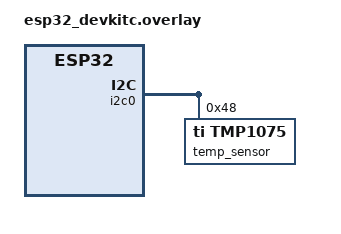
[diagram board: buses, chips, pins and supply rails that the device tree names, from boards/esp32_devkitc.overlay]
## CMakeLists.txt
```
# SPDX-License-Identifier: Apache-2.0

cmake_minimum_required(VERSION 3.20.0)

find_package(Zephyr REQUIRED HINTS $ENV{ZEPHYR_BASE})
project(zephyr_mqtt_demo)
FILE(GLOB app_sources src/*.c)
target_sources(app PRIVATE
  ${app_sources}
  )
generate_inc_file_for_target(app src/hivemq_ca.pem ${ZEPHYR_BINARY_DIR}/include/generated/hivemq_ca.pem.inc)
```

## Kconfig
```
menu "Demo functionalities"

config DEMO_BUILD_TYPE
    int "Build type"
    default 1
    range 1 2
    help
        Select build type (1 = non-secure, 2 = secure)

config MOSQUITTO_USERNAME
	string "Mosquitto cloud username"
	help
	  Username of your Mosquitto account.

config MOSQUITTO_PASSWORD
	string "Mosquitto cloud password"
	help
	  Password of your Mosquitto account.

config MOSQUITTO_CLIENT_ID
	string "Mosquitto cloud IoT hub MQTT client ID"
	help
	  Device ID which you have setup in IoT hub account.

config MOSQUITTO_HOSTNAME
	string "Mosquitto cloud IoT hub hostname"
	help
	  Hostname of your Mosquitto cloud IoT hub.

config MOSQUITTO_SERVER_IP
	string "Mosquitto cloud IoT hub ip address"
	help
	  Hostname of your Mosquitto cloud IoT hub.

config MOSQUITTO_SERVER_PORT
	int "Mosquitto cloud server port number"
	default 8883
	help
	  Mosquitto cloud server port number.

config MOSQUITTO_QOS
    int "MQTT QoS"
    default 0
    range 0 1
    help
      Quality of Service to use for publishing and subscribing to topics.
      Notes:
        - Use QoS 0 when passing DQP test suite
        - QoS 2 is not supported by AWS MQTT broker
endmenu

source "Kconfig.zephyr"
```

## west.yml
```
manifest:
  projects:
    - name: zephyrproject-rtos
      url: https://github.com/zephyrproject-rtos/zephyr
      revision: main
      path: zephyr/
      import: true
```

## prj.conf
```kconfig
# --- Core Options ---
CONFIG_MAIN_STACK_SIZE=3072
CONFIG_HWINFO=y
CONFIG_CBPRINTF_FP_SUPPORT=y
CONFIG_HEAP_MEM_POOL_SIZE=81984
CONFIG_SYSTEM_WORKQUEUE_STACK_SIZE=2048


# --- Flash & File System ---
CONFIG_NET_BUF=y
CONFIG_STREAM_FLASH=y
CONFIG_FLASH=y
CONFIG_FLASH_MAP=y
CONFIG_FLASH_PAGE_LAYOUT=y
CONFIG_FILE_SYSTEM=y
CONFIG_FILE_SYSTEM_LITTLEFS=y
CONFIG_FILE_SYSTEM_SHELL=n

# --- Diagnostics & Shell ---
CONFIG_LOG=y
CONFIG_SHELL=n

# --- Networking Stack Core ---
CONFIG_NETWORKING=y
CONFIG_TEST_RANDOM_GENERATOR=y
CONFIG_ENTROPY_GENERATOR=y
CONFIG_INIT_STACKS=y
CONFIG_NET_MGMT_EVENT_STACK_SIZE=2048
CONFIG_NET_TCP_WORKQ_STACK_SIZE=2048
CONFIG_NET_SOCKETS_SERVICE_STACK_SIZE=2048
CONFIG_NET_IPV4=y
CONFIG_NET_IPV6=n
CONFIG_NET_TCP=y
CONFIG_NET_UDP=y
CONFIG_NET_SOCKETS=y
CONFIG_NET_CONNECTION_MANAGER=y

# --- Network Buffers (Optimized for ESP32 DRAM) ---
CONFIG_NET_PKT_RX_COUNT=8
CONFIG_NET_PKT_TX_COUNT=8
CONFIG_NET_BUF_RX_COUNT=16
CONFIG_NET_BUF_TX_COUNT=16
CONFIG_NET_CONTEXT_NET_PKT_POOL=y
CONFIG_NET_DHCPV4=y
CONFIG_NET_SHELL=n

# --- Wi-Fi Subsystem ---
CONFIG_WIFI=y
CONFIG_WIFI_NM=y
CONFIG_WIFI_STA_AUTO_DHCPV4=y

# --- DNS Resolution ---
CONFIG_DNS_RESOLVER=y
CONFIG_DNS_RESOLVER_MAX_SERVERS=2
CONFIG_DNS_NUM_CONCUR_QUERIES=2
CONFIG_DNS_SERVER_IP_ADDRESSES=y
CONFIG_DNS_SERVER1="8.8.8.8"

# --- HiveMQ Target Settings ---
CONFIG_MQTT_LIB=y
CONFIG_MQTT_CLEAN_SESSION=y
CONFIG_MOSQUITTO_CLIENT_ID="zephyr-123234"
CONFIG_MOSQUITTO_HOSTNAME="dc69f81904184c9eb8612ea26d2fa1bf.s1.eu.hivemq.cloud"
CONFIG_MOSQUITTO_SERVER_PORT=8883
CONFIG_MOSQUITTO_USERNAME="zephyr_client"
CONFIG_MOSQUITTO_PASSWORD="Tvadivel1."

# --- Secure TLS Layer Configuration ---
CONFIG_TLS_CREDENTIALS=y
CONFIG_NET_SOCKETS_SOCKOPT_TLS=y
CONFIG_MQTT_LIB_TLS=y

# --- Mbed TLS Subsystem Options ---
CONFIG_MBEDTLS=y
CONFIG_MBEDTLS_BUILTIN=y
CONFIG_MBEDTLS_ENABLE_HEAP=y
CONFIG_MBEDTLS_HEAP_SIZE=49152
CONFIG_MBEDTLS_SSL_IN_CONTENT_LEN=16384
CONFIG_MBEDTLS_SSL_OUT_CONTENT_LEN=16384
CONFIG_MBEDTLS_X509_CRT_PARSE_C=y
CONFIG_MBEDTLS_HAVE_TIME_DATE=y
CONFIG_MBEDTLS_PEM_PARSE_C=y
CONFIG_MBEDTLS_PEM_WRITE_C=y
CONFIG_MBEDTLS_SSL_SERVER_NAME_INDICATION=y
CONFIG_MBEDTLS_CIPHERSUITE_TLS_ECDHE_RSA_WITH_AES_128_GCM_SHA256=y

# --- Watchdog ---
CONFIG_WATCHDOG=y
CONFIG_TASK_WDT=y
CONFIG_TASK_WDT_MIN_TIMEOUT=500

# --- App Settings & Targets ---
CONFIG_POSIX_API=y
CONFIG_SENSOR=y
CONFIG_STDOUT_CONSOLE=y
CONFIG_ESP32_USE_UNSUPPORTED_REVISION=y
```

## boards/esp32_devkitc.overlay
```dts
/*
 * Copyright (c) 2020 Phytec Messtechnik GmbH
 *
 * SPDX-License-Identifier: Apache-2.0
 */

#include <zephyr/dt-bindings/pinctrl/esp-pinctrl-common.h>
#include <dt-bindings/pinctrl/esp32c3-pinctrl.h>
#include <zephyr/dt-bindings/pinctrl/esp32c3-gpio-sigmap.h>

/ {
    aliases {
        ambient-temp0 = &temp_sensor;
        /* Fixes main.c missing watchdog alias requirement */
        watchdog0 = &wdt0;
    };
};

&i2c0 {
    temp_sensor: tmp1075@48 {
        compatible = "ti,tmp1075";
        friendly-name = "texas_temperature_tmp1075";
        reg = <0x48>;
        conversion-rate = <220000>;
        lower-threshold = <27>;
        upper-threshold = <28>;
        consecutive-fault-measurements = <4>;
    };
};

/* Defines the partition configuration required by LittleFS for storage */
&flash0 {
    partitions {
        compatible = "fixed-partitions";
        #address-cells = <1>;
        #size-cells = <1>;

        /* Reserve space for LittleFS storage inside the internal flash area */
        storage_partition: partition@250000 {
            label = "storage";
            reg = <0x00250000 0x000B0000>; /* Adjust start address/size to fit layout if required */
        };
    };
};
```

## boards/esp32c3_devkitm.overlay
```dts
/*
 * Copyright (c) 2020 Phytec Messtechnik GmbH
 *
 * SPDX-License-Identifier: Apache-2.0
 */

#include <zephyr/dt-bindings/pinctrl/esp-pinctrl-common.h>
#include <dt-bindings/pinctrl/esp32c3-pinctrl.h>
#include <zephyr/dt-bindings/pinctrl/esp32c3-gpio-sigmap.h>

/ {
    aliases {
        ambient-temp0 = &temp_sensor;
    };
};

&i2c0 {
    temp_sensor: tmp1075@48 {
		compatible = "ti,tmp1075";
		friendly-name = "texas_temperature_tmp1075";
		reg = <0x48>;
		conversion-rate = <220000>;
		lower-threshold = <27>;
		upper-threshold = <28>;
		consecutive-fault-measurements = <4>;
	};
};
```

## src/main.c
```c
#include <zephyr/kernel.h>
#include <zephyr/stats/stats.h>
#include <zephyr/device.h>
#include <zephyr/drivers/watchdog.h>
#include <zephyr/sys/reboot.h>
#include <zephyr/sys/printk.h>
#include <zephyr/logging/log.h>
#include <zephyr/fs/fs.h>
#include <zephyr/fs/littlefs.h>
#include <zephyr/drivers/hwinfo.h>
#include <stdbool.h>

#include "common.h"

#define LOG_LEVEL LOG_LEVEL_DBG
LOG_MODULE_REGISTER(main);

#ifdef CONFIG_TASK_WDT
#include <zephyr/task_wdt/task_wdt.h>
#define WDT_NODE DT_ALIAS(watchdog0)
#endif

#define STORAGE_PARTITION_LABEL storage_partition
#define STORAGE_PARTITION_ID    PARTITION_ID(STORAGE_PARTITION_LABEL)
FS_LITTLEFS_DECLARE_DEFAULT_CONFIG(cstorage);
static struct fs_mount_t littlefs_mnt = {
    .type = FS_LITTLEFS,
    .fs_data = &cstorage,
    .storage_dev = (void *)STORAGE_PARTITION_ID,
    .mnt_point = "/lfs1"
};
#include <zephyr/net/tls_credentials.h>

#define TLS_SEC_TAG_LIST_APP 1
static const unsigned char ca_certificate[] = {
#include "hivemq_ca.pem.inc"
 0x00
};
static int setup_tls_credentials(void)
{
    /* Use strlen() + 1 to guarantee exact string size + null terminator */
    int ret = tls_credential_add(TLS_SEC_TAG_LIST_APP,
                                  TLS_CREDENTIAL_CA_CERTIFICATE,
                                  ca_certificate,
                                  strlen(ca_certificate) + 1);
    if (ret < 0) {
        LOG_ERR("Failed to register CA certificate: %d", ret);
    }
    return ret;
}
void print_deviceid()
{
    // uint8_t id[16];   /* buffer for the ID */
    // ssize_t len;

    // /* Passing NULL defaults to the "system device" (SoC) */
    // len = hwinfo_get_device_id(id, sizeof(id));

    // if (len > 0)
    // {
    //     printk("Device ID (len=%d): ", (int)len);
    //     for (int i = 0; i < len; i++)
    //     {
    //         printk("%02x", id[i]);
    //     }
    //     printk("\n");
    // }
    // else
    // {
    //     printk("Device ID not available on this platform\n");
    // }
}

int main(void)
{
    int ret;
#ifdef CONFIG_TASK_WDT
    const struct device *const hw_wdt_dev = DEVICE_DT_GET_OR_NULL(WDT_NODE);

    if (!device_is_ready(hw_wdt_dev))
    {
        LOG_ERR("Hardware watchdog not ready; ignoring it.\n");
        ret = task_wdt_init(NULL);
    }
    else
    {
        ret = task_wdt_init(hw_wdt_dev);
    }
    int task_wdt_id = task_wdt_add(10000U, NULL, NULL);
#endif

    // print_deviceid();
    ret = fs_mount(&littlefs_mnt);
    if (ret < 0) {
        LOG_ERR("Error mounting littlefs [%d]", ret);
    }
    init_wifi();
    setup_tls_credentials();
    start_mqtt_client();
	LOG_INF("build time: " __DATE__ " " __TIME__);

	while (1)
    {
#ifdef CONFIG_TASK_WDT
        task_wdt_feed(task_wdt_id);
#endif
		k_sleep(K_MSEC(1500));
	}
	return 0;
}
```

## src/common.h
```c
/*
 * Copyright (c) 2020 Prevas A/S
 *
 * SPDX-License-Identifier: Apache-2.0
 */

#define WIFI_FILE_PATH "/lfs1/wifi_cred.txt"
#define AES_BLOCK_SIZE  16

typedef struct wifi_credentials
{
    uint8_t ssid[32];
    uint8_t password[64];
}wifi_credentials_t;

void init_wifi(void);
bool check_wifi_status();
int start_mqtt_client();
int update_wifi_cred();
void wifi_disconnect(void);
```

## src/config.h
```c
/*
 * Copyright (c) 2019 Intel Corporation
 *
 * SPDX-License-Identifier: Apache-2.0
 */

#ifndef __CONFIG_H__
#define __CONFIG_H__

#define APP_SLEEP_MSECS 8000
#define APP_MQTT_BUFFER_SIZE 1024
#endif /* __CONFIG_H__ */
```

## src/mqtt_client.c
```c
#include <errno.h>
#include <string.h>
#include <stdio.h>
#include <zephyr/logging/log.h>
#include <zephyr/kernel.h>
#include <zephyr/net/mqtt.h>
#include <zephyr/net/socket.h>
#include <zephyr/sys/printk.h>
#include <zephyr/random/random.h>
#include <zephyr/net/net_if.h>

#if defined(CONFIG_MQTT_LIB_TLS)
#include <zephyr/net/tls_credentials.h>
#endif

#include "common.h"
#include "config.h"

LOG_MODULE_REGISTER(mqtt_client, LOG_LEVEL_DBG);

#if defined(CONFIG_MQTT_LIB_TLS)
/* CA Certificate Tag */
#define TLS_SEC_TAG_LIST_APP 1

static sec_tag_t sec_tag_list[] = {
    TLS_SEC_TAG_LIST_APP,
};
#endif

typedef struct __mqtt_client_ctx
{
    bool mqtt_connected;
} mqtt_client_ctx;

static mqtt_client_ctx mqtt_ctx;
/* The mqtt client struct */
static struct mqtt_client client_ctx;

#ifdef CONFIG_DNS_RESOLVER
static struct zsock_addrinfo hints;
static struct zsock_addrinfo *haddr;
#endif

/* MQTT Broker details. */
static struct sockaddr_storage broker;

/* Socket Poll */
static struct zsock_pollfd fds[1];
static int nfds;

/* Buffers for MQTT client. */
static uint8_t rx_buffer[1024];
static uint8_t tx_buffer[1024];

#define TOPIC_PRE_STR "zephyr_demo/devices/"

static void clear_fds(void);
static uint8_t devbound_topic[] = TOPIC_PRE_STR CONFIG_MOSQUITTO_CLIENT_ID "/temperature/config/#";
//the subscription topic in the hivemqtt webpage is "zephyr_demo/devices/zephyr-123234/temperature/config/temp"
// use this topic to send message to the esp32 module from the hivemqtt webpage
static struct mqtt_topic subs_topic;
static struct mqtt_subscription_list subs_list;
static struct k_work_delayable pub_message;

#define MQTT_CLIENT_STACK 7168
#define MQTT_CLIENT_PRIORITY 5
#define MQTT_CLIENT_FREQ_MS 15000

K_THREAD_STACK_DEFINE(mqtt_client_stack, MQTT_CLIENT_STACK);
static struct k_thread mqtt_client_thread_data;
static k_tid_t mqtt_client_tid;

/* Credentials structs (static so references stay valid during connection) */
static struct mqtt_utf8 username;
static struct mqtt_utf8 password;

int get_random_temp_data(void)
{
    int minTemp = 20;
    int maxTemp = 25;
    int temperature = minTemp + (sys_rand32_get() % (maxTemp - minTemp + 1));
    return temperature;
}

static int publish(struct mqtt_client *client, enum mqtt_qos qos)
{
    double temp = 25.5;
    char payload[15] = {0};
    snprintf(payload, sizeof(payload), "%f", temp);
    char evt_topic[] = TOPIC_PRE_STR CONFIG_MOSQUITTO_CLIENT_ID "/temperature/data/";
    uint8_t len = strlen(evt_topic);
    struct mqtt_publish_param param;

    param.message.topic.qos = qos;
    param.message.topic.topic.utf8 = (uint8_t *)evt_topic;
    param.message.topic.topic.size = len;
    param.message.payload.data = payload;
    param.message.payload.len = strlen(payload);
    param.message_id = sys_rand16_get();
    param.dup_flag = 0U;
    param.retain_flag = 0U;
    LOG_INF("Publishing Data on %s\n", evt_topic);

    return mqtt_publish(client, &param);
}

static uint8_t timeout_for_publish(void)
{
    return (10 + sys_rand8_get() % 5);
}

static void publish_timeout(struct k_work *work)
{
    int rc;

    if (!mqtt_ctx.mqtt_connected) {
        return;
    }

    rc = publish(&client_ctx, MQTT_QOS_0_AT_MOST_ONCE);
    if (rc) {
        LOG_ERR("mqtt_publish ERROR");
    } else {
        LOG_DBG("mqtt_publish OK");
    }
    k_work_reschedule(&pub_message, K_SECONDS(timeout_for_publish()));
}

static void mqtt_event_handler(struct mqtt_client *const client, const struct mqtt_evt *evt)
{
    struct mqtt_puback_param puback;
    uint8_t data[129];
    int len;

    switch (evt->type)
    {
        case MQTT_EVT_SUBACK:
            LOG_INF("SUBACK packet id: %u", evt->param.suback.message_id);
            break;

        case MQTT_EVT_UNSUBACK:
            LOG_INF("UNSUBACK packet id: %u", evt->param.suback.message_id);
            break;

        case MQTT_EVT_CONNACK:
            if (evt->result)
            {
                LOG_ERR("MQTT connect failed %d", evt->result);
                break;
            }

            mqtt_ctx.mqtt_connected = true;
            LOG_DBG("MQTT client connected!");
            break;

        case MQTT_EVT_DISCONNECT:
            LOG_DBG("MQTT client disconnected %d", evt->result);

            mqtt_ctx.mqtt_connected = false;
            clear_fds();
            break;

        case MQTT_EVT_PUBACK:
            if (evt->result)
            {
                LOG_ERR("MQTT PUBACK error %d", evt->result);
                break;
            }

            LOG_DBG("PUBACK packet id: %u\n", evt->param.puback.message_id);
            break;

        case MQTT_EVT_PUBLISH:
            len = evt->param.publish.message.payload.len;

            LOG_INF("MQTT publish received %d, %d bytes", evt->result, len);
            LOG_INF(" id: %d, qos: %d", evt->param.publish.message_id, evt->param.publish.message.topic.qos);

            while (len)
            {
                int bytes_read =
                    mqtt_read_publish_payload(&client_ctx, data, len >= sizeof(data) - 1 ? sizeof(data) - 1 : len);
                if (bytes_read < 0 && bytes_read != -EAGAIN)
                {
                    LOG_ERR("Fail to read payload");
                    break;
                }

                data[bytes_read] = '\0';
                LOG_INF("Payload: %s", data);
                len -= bytes_read;
            }

            puback.message_id = evt->param.publish.message_id;
            mqtt_publish_qos1_ack(&client_ctx, &puback);
            break;

        default:
            LOG_DBG("Unhandled MQTT event %d", evt->type);
            break;
    }
}

static void prepare_fds(struct mqtt_client *client)
{
#if defined(CONFIG_MQTT_LIB_TLS)
    if (client->transport.type == MQTT_TRANSPORT_SECURE) {
        fds[0].fd = client->transport.tls.sock;
    } else {
        fds[0].fd = client->transport.tcp.sock;
    }
#else
    fds[0].fd = client->transport.tcp.sock;
#endif

    fds[0].events = ZSOCK_POLLIN;
    nfds = 1;
}

static void clear_fds(void)
{
    nfds = 0;
}

static int wait(int timeout)
{
    int rc = -EINVAL;

    if (nfds <= 0)
    {
        return rc;
    }

    rc = zsock_poll(fds, nfds, timeout);
    if (rc < 0)
    {
        LOG_ERR("poll error: %d", errno);
        return -errno;
    }

    return rc;
}

static void broker_init(void)
{
    struct sockaddr_in *broker4 = (struct sockaddr_in *)&broker;

    broker4->sin_family = AF_INET;
    broker4->sin_port = htons(CONFIG_MOSQUITTO_SERVER_PORT);

#if defined(CONFIG_DNS_RESOLVER)
    net_ipaddr_copy(&broker4->sin_addr, &net_sin(haddr->ai_addr)->sin_addr);
#else
    zsock_inet_pton(AF_INET, CONFIG_MOSQUITTO_SERVER_IP, &broker4->sin_addr);
#endif
}

static void client_init(struct mqtt_client *client)
{
    mqtt_client_init(client);

    broker_init();

    /* MQTT client configuration */
    client->broker = &broker;
    client->evt_cb = mqtt_event_handler;

    client->client_id.utf8 = (uint8_t *)CONFIG_MOSQUITTO_CLIENT_ID;
    client->client_id.size = strlen(CONFIG_MOSQUITTO_CLIENT_ID);

    /* Attach Username and Password required by HiveMQ */
    username.utf8 = (uint8_t *)CONFIG_MOSQUITTO_USERNAME;
    username.size = strlen(CONFIG_MOSQUITTO_USERNAME);
    client->user_name = &username;

    password.utf8 = (uint8_t *)CONFIG_MOSQUITTO_PASSWORD;
    password.size = strlen(CONFIG_MOSQUITTO_PASSWORD);
    client->password = &password;

    client->keepalive = 60;
    client->clean_session = 1;
    client->protocol_version = MQTT_VERSION_3_1_1;

    /* MQTT buffers configuration */
    client->rx_buf = rx_buffer;
    client->rx_buf_size = sizeof(rx_buffer);
    client->tx_buf = tx_buffer;
    client->tx_buf_size = sizeof(tx_buffer);

    /* Configure TLS / Non-TLS Transport */
#if defined(CONFIG_MQTT_LIB_TLS)
    client->transport.type = MQTT_TRANSPORT_SECURE;
    client->transport.tls.config.peer_verify = TLS_PEER_VERIFY_OPTIONAL;
    client->transport.tls.config.cipher_list = NULL;
    client->transport.tls.config.sec_tag_list = sec_tag_list;
    client->transport.tls.config.sec_tag_count = ARRAY_SIZE(sec_tag_list);
    client->transport.tls.config.hostname = CONFIG_MOSQUITTO_HOSTNAME;
#else
    client->transport.type = MQTT_TRANSPORT_NON_SECURE;
#endif
}

static void poll_mqtt(void)
{
    int rc;

    while (mqtt_ctx.mqtt_connected)
    {
        rc = wait(SYS_FOREVER_MS);
        if (rc > 0)
        {
            mqtt_input(&client_ctx);
        }
    }
}

static void subscribe(struct mqtt_client *client)
{
    int err;

    /* subscribe */
    subs_topic.topic.utf8 = devbound_topic;
    subs_topic.topic.size = strlen(devbound_topic);
    subs_list.list = &subs_topic;
    subs_list.list_count = 1U;
    subs_list.message_id = 1U;

    err = mqtt_subscribe(client, &subs_list);
    if (err) {
        LOG_ERR("Failed on topic %s", devbound_topic);
    } else {
        LOG_INF("Subscribed to %s\n", devbound_topic);
    }
}

static int try_to_connect(struct mqtt_client *client)
{
    uint8_t retries = 3U;
    int rc;

    LOG_DBG("attempting to connect...");

    while (retries--)
    {
        client_init(client);

        rc = mqtt_connect(client);
        if (rc)
        {
            LOG_ERR("mqtt_connect failed %d", rc);
            k_msleep(MQTT_CLIENT_FREQ_MS);
            continue;
        }

        prepare_fds(client);

        rc = wait(APP_SLEEP_MSECS);
        if (rc < 0)
        {
            mqtt_abort(client);
            return rc;
        }

        mqtt_input(client);

        if (mqtt_ctx.mqtt_connected)
        {
            subscribe(client);
            k_work_reschedule(&pub_message, K_SECONDS(timeout_for_publish()));
            return 0;
        }

        mqtt_abort(client);

        wait(10 * MSEC_PER_SEC);
    }

    return -EINVAL;
}

#ifdef CONFIG_DNS_RESOLVER
static int get_mqtt_broker_addrinfo(void)
{
    int retries = 3;
    int rc = -EINVAL;
    char port_str[6];

    snprintf(port_str, sizeof(port_str), "%d", CONFIG_MOSQUITTO_SERVER_PORT);

    while (retries--)
    {
        hints.ai_family = AF_INET;
        hints.ai_socktype = SOCK_STREAM;
        hints.ai_protocol = 0;

        rc = zsock_getaddrinfo(CONFIG_MOSQUITTO_HOSTNAME, port_str, &hints, &haddr);
        if (rc == 0)
        {
            LOG_INF("DNS resolved for %s:%d", CONFIG_MOSQUITTO_HOSTNAME, CONFIG_MOSQUITTO_SERVER_PORT);
            return 0;
        }

        LOG_ERR("DNS not resolved for %s:%d, retrying", CONFIG_MOSQUITTO_HOSTNAME, CONFIG_MOSQUITTO_SERVER_PORT);
    }

    return rc;
}
#endif

static void connect_to_cloud_and_publish(void)
{
    int rc = -EINVAL;

    do
    {
#ifdef CONFIG_DNS_RESOLVER
        rc = get_mqtt_broker_addrinfo();
        if (rc)
        {
            return;
        }
#endif
        rc = try_to_connect(&client_ctx);
        if (rc)
        {
            return;
        }
        poll_mqtt();
    } while (0);
}

void abort_mqtt_connection(void)
{
    if (mqtt_ctx.mqtt_connected)
    {
        mqtt_ctx.mqtt_connected = false;
        mqtt_abort(&client_ctx);
        k_work_cancel_delayable(&pub_message);
    }
}

static void mqtt_client(void *dummy1, void *dummy2, void *dummy3)
{
    ARG_UNUSED(dummy1);
    ARG_UNUSED(dummy2);
    ARG_UNUSED(dummy3);

    while (1)
    {
        do
        {
            if (false == check_wifi_status())
            {
                LOG_WRN("WiFi is not connected\n");
                break;
            }
            if (mqtt_ctx.mqtt_connected)
            {
                LOG_INF("MQTT Client is already connected");
                break;
            }
            connect_to_cloud_and_publish();
        } while (0);

        k_msleep(MQTT_CLIENT_FREQ_MS);
    }
}

int start_mqtt_client(void)
{
    mqtt_client_tid =
        k_thread_create(&mqtt_client_thread_data, mqtt_client_stack, K_THREAD_STACK_SIZEOF(mqtt_client_stack),
                mqtt_client, NULL, NULL, NULL, MQTT_CLIENT_PRIORITY, 0, K_NO_WAIT);
    k_thread_name_set(&mqtt_client_thread_data, "mqtt_client");
    k_thread_start(&mqtt_client_thread_data);
    k_work_init_delayable(&pub_message, publish_timeout);
    return 0;
}
```

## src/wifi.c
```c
#include <zephyr/logging/log.h>
#include <zephyr/kernel.h>
#include <zephyr/device.h>
#include <zephyr/net/net_core.h>
#include <zephyr/net/net_if.h>
#include <zephyr/net/wifi_mgmt.h>
#include <zephyr/net/net_mgmt.h>
#include <zephyr/net/wifi_mgmt.h>
#include <zephyr/net/wifi_utils.h>
#include <zephyr/sys/printk.h>
#include <zephyr/fs/fs.h>
//#include <mbedtls/aes.h>
#include <stdio.h>
#include <string.h>

#include "common.h"

LOG_MODULE_REGISTER(wifi_c, LOG_LEVEL_DBG);
#define WIFI_SSID "ZEPHYR"
#define WIFI_PASS "Tvadivel1."
static void wifi_reconnect_work_handler(struct k_work *work);
static struct k_work_delayable wifi_reconnect_work;
wifi_credentials_t wifi_cred;

#define WIFI_SHELL_MGMT_EVENTS (            \
                NET_EVENT_WIFI_CONNECT_RESULT     |\
                NET_EVENT_WIFI_DISCONNECT_RESULT  |\
                NET_EVENT_WIFI_TWT                |\
                NET_EVENT_WIFI_AP_ENABLE_RESULT   |\
                NET_EVENT_WIFI_AP_DISABLE_RESULT  |\
                NET_EVENT_WIFI_AP_STA_CONNECTED   |\
                NET_EVENT_WIFI_AP_STA_DISCONNECTED|\
                NET_EVENT_WIFI_SIGNAL_CHANGE      |\
                NET_EVENT_WIFI_NEIGHBOR_REP_COMP)

/* Simple connect attempt (synchronous loop until requested to stop) */

static int read_wifi_credentials(wifi_credentials_t *cred)
{
    struct fs_file_t wifi_cred_file;
    fs_file_t_init(&wifi_cred_file);
    int ret = fs_open(&wifi_cred_file, WIFI_FILE_PATH, FS_O_READ);
    if (ret < 0) {
        LOG_ERR("Failed to open %s (%d)", WIFI_FILE_PATH, ret);
        return ret;
    }
    ret = fs_read(&wifi_cred_file, cred, sizeof(wifi_credentials_t));
    if (ret < 0) {
        LOG_ERR("Failed to read %s (%d)", WIFI_FILE_PATH, ret);
        fs_close(&wifi_cred_file);
        return ret;
    }
    fs_close(&wifi_cred_file);
    return 0;
}

int update_wifi_cred()
{
    struct fs_file_t wifi_cred_file;
    fs_file_t_init(&wifi_cred_file);
    int ret = fs_open(&wifi_cred_file, WIFI_FILE_PATH, FS_O_CREATE | FS_O_WRITE);
    if (ret < 0) {
        LOG_ERR("Failed to open %s (%d)", WIFI_FILE_PATH, ret);
        return ret;
    }
    ret = fs_write(&wifi_cred_file, &wifi_cred, sizeof(wifi_credentials_t));
    if (ret < 0) {
        LOG_ERR("Failed to read %s (%d)", WIFI_FILE_PATH, ret);
        fs_close(&wifi_cred_file);
        return ret;
    }
    fs_close(&wifi_cred_file);
    wifi_disconnect();
    return 0;
}

static int wifi_connect_once(void)
{
    int err;
    do {
        LOG_INF("Trying to reconnect");
        if (read_wifi_credentials(&wifi_cred) < 0) {
            err = -1;
            break;
        }
        if (strlen(wifi_cred.password) < WIFI_PSK_MIN_LEN) {
            LOG_ERR("Wifi PSK length less than required");
            err = -2;
            break;
        }
        struct net_if *iface = net_if_get_default();
        struct wifi_connect_req_params params = {
            .ssid = wifi_cred.ssid,
            .ssid_length = strlen(wifi_cred.ssid),
            .psk = wifi_cred.password,
            .psk_length = strlen(wifi_cred.password),
            .security = WIFI_SECURITY_TYPE_PSK,
            .channel = WIFI_CHANNEL_ANY,
        };
        err = net_mgmt(NET_REQUEST_WIFI_CONNECT, iface, &params, sizeof(params));
        if (err != 0) {
            LOG_ERR("net_mgmt connect request returned %d\n", err);
            break;
        }
    } while(0);

    if (err != 0) {
        k_work_schedule(&wifi_reconnect_work, K_SECONDS(5));
    }

    return 0;
}

/* Work handler scheduled on disconnect events */
static void wifi_reconnect_work_handler(struct k_work *work)
{
    LOG_INF("Wi-Fi reconnect work: attempting reconnect\n");
    /* Try repeatedly until success */
    int r = wifi_connect_once();
    if (r == 0) {
        struct net_if *iface = net_if_get_default();
        if (net_if_is_up(iface)) {
            LOG_INF("Wi-Fi connect requested; interface up\n");
        }
    }
}

void wifi_disconnect(void)
{
        struct net_if *iface = net_if_get_default();
        int r = net_mgmt(NET_REQUEST_WIFI_DISCONNECT, iface, NULL, 0);
        if (r < 0) {
            LOG_INF("Failed to disconnect wifi (err %d)", r);
        }
}

/* net_mgmt event callback to handle Wi-Fi disconnects */
static struct net_mgmt_event_callback wifi_mgmt_cb;
static void wifi_mgmt_event_handler(struct net_mgmt_event_callback *cb,
                                     uint64_t mgmt_event, struct net_if *iface)
{
    switch (mgmt_event) 
    {
        case NET_EVENT_WIFI_CONNECT_RESULT: 
        {
            const struct wifi_status *status =
                (const struct wifi_status *)cb->info;

            if (status->status) 
            {
                LOG_ERR("Wi-Fi connect failed (status=%d)", status->status);
                k_work_schedule(&wifi_reconnect_work, K_SECONDS(2));
            } 
            else 
            {
                LOG_INF("Wi-Fi connected");
            }
            break;
        }
        case NET_EVENT_WIFI_DISCONNECT_RESULT:
            LOG_INF("Wi-Fi disconnected (event). Scheduling reconnect.");
            k_work_schedule(&wifi_reconnect_work, K_SECONDS(2));
            break;
        case NET_EVENT_WIFI_AP_STA_CONNECTED:
            LOG_INF("Station connected");
            break;
    }
}
bool check_wifi_status()
{
    struct net_if *iface = net_if_get_default();
    struct wifi_iface_status status = {0};

    if (net_mgmt(NET_REQUEST_WIFI_IFACE_STATUS, iface, &status, sizeof(struct wifi_iface_status))) {
        return false;
    }

    if (status.state >= WIFI_STATE_ASSOCIATED) {
        return true;
    }
    return false;
}

void init_wifi(void)
{
    /* 1. Initialize the delayable work structure */
    k_work_init_delayable(&wifi_reconnect_work, wifi_reconnect_work_handler);

    /* 2. Prepare the net_mgmt callback structure */
    net_mgmt_init_event_callback(&wifi_mgmt_cb, wifi_mgmt_event_handler, WIFI_SHELL_MGMT_EVENTS);

    /* 3. Register callback with net stack BEFORE triggering actions */
    net_mgmt_add_event_callback(&wifi_mgmt_cb);

    /* 4. Trigger initial connection attempt (K_NO_WAIT for immediate, or K_SECONDS(n)) */
    k_work_schedule(&wifi_reconnect_work, K_NO_WAIT);
}
```
